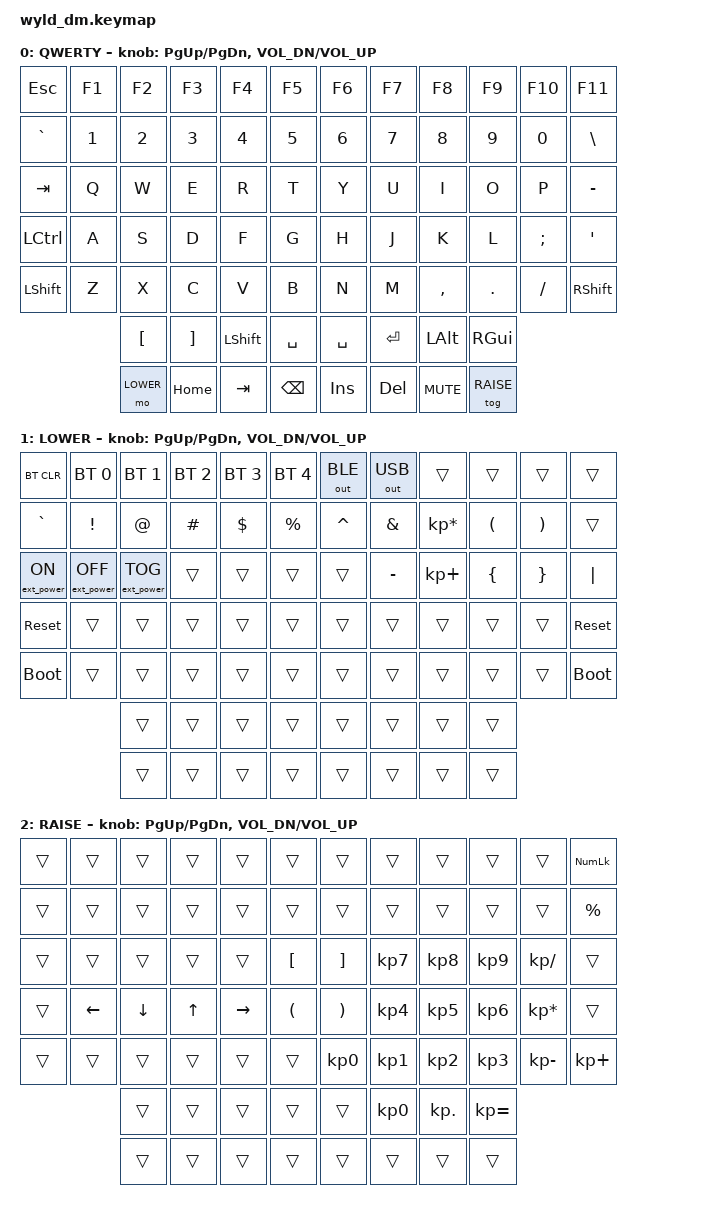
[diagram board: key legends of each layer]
/*
 * Copyright (c) 2020 The ZMK Contributors
 *
 * SPDX-License-Identifier: MIT
 */

#include <behaviors.dtsi>
#include <dt-bindings/zmk/bt.h>
#include <dt-bindings/zmk/ext_power.h>
#include <dt-bindings/zmk/keys.h>
#include <dt-bindings/zmk/outputs.h>

#define QWERTY 0
#define LOWER 1
#define RAISE 2

/ {
    keymap {
        compatible = "zmk,keymap";

        default_layer {
            display-name = "QWERTY";
            bindings = <
&kp ESC    &kp F1  &kp F2     &kp F3    &kp F4     &kp F5         &kp F6      &kp F7      &kp F8        &kp F9     &kp F10   &kp F11
&kp GRAVE  &kp N1  &kp N2     &kp N3    &kp N4     &kp N5         &kp N6      &kp N7      &kp N8        &kp N9     &kp N0    &kp BSLH
&kp TAB    &kp Q   &kp W      &kp E     &kp R      &kp T          &kp Y       &kp U       &kp I         &kp O      &kp P     &kp MINUS
&kp LCTRL  &kp A   &kp S      &kp D     &kp F      &kp G          &kp H       &kp J       &kp K         &kp L      &kp SEMI  &kp SQT
&kp LSHFT  &kp Z   &kp X      &kp C     &kp V      &kp B          &kp N       &kp M       &kp COMMA     &kp DOT    &kp FSLH  &kp RSHFT
                   &kp LBKT   &kp RBKT  &kp LSHFT  &kp SPACE      &kp SPACE   &kp ENTER   &kp LEFT_ALT  &kp RGUI
                   &mo LOWER  &kp HOME  &kp TAB    &kp BACKSPACE  &kp INSERT  &kp DELETE  &kp K_MUTE    &tog RAISE
            >;

            sensor-bindings = <&inc_dec_kp PG_UP PG_DN &inc_dec_kp C_VOL_DN C_VOL_UP>;
        };

        lower_layer {
            display-name = "LOWER";
            bindings = <
&bt BT_CLR        &bt BT_SEL 0       &bt BT_SEL 1       &bt BT_SEL 2  &bt BT_SEL 3  &bt BT_SEL 4  &out OUT_BLE  &out OUT_USB  &trans           &trans    &trans    &trans
&kp GRAVE         &kp EXCL           &kp AT             &kp HASH      &kp DOLLAR    &kp PRCNT     &kp CARET     &kp AMPS      &kp KP_MULTIPLY  &kp LPAR  &kp RPAR  &trans
&ext_power EP_ON  &ext_power EP_OFF  &ext_power EP_TOG  &trans        &trans        &trans        &trans        &kp MINUS     &kp KP_PLUS      &kp LBRC  &kp RBRC  &kp PIPE
&sys_reset        &trans             &trans             &trans        &trans        &trans        &trans        &trans        &trans           &trans    &trans    &sys_reset
&bootloader       &trans             &trans             &trans        &trans        &trans        &trans        &trans        &trans           &trans    &trans    &bootloader
                                     &trans             &trans        &trans        &trans        &trans        &trans        &trans           &trans
                                     &trans             &trans        &trans        &trans        &trans        &trans        &trans           &trans
            >;

            sensor-bindings = <&inc_dec_kp PG_UP PG_DN &inc_dec_kp C_VOL_DN C_VOL_UP>;
        };

        raise_layer {
            display-name = "RAISE";
            bindings = <
&trans  &trans    &trans    &trans  &trans     &trans    &trans     &trans     &trans      &trans        &trans           &kp KP_NUM
&trans  &trans    &trans    &trans  &trans     &trans    &trans     &trans     &trans      &trans        &trans           &kp PRCNT
&trans  &trans    &trans    &trans  &trans     &kp LBKT  &kp RBKT   &kp KP_N7  &kp KP_N8   &kp KP_N9     &kp KP_DIVIDE    &trans
&trans  &kp LEFT  &kp DOWN  &kp UP  &kp RIGHT  &kp LPAR  &kp RPAR   &kp KP_N4  &kp KP_N5   &kp KP_N6     &kp KP_MULTIPLY  &trans
&trans  &trans    &trans    &trans  &trans     &trans    &kp KP_N0  &kp KP_N1  &kp KP_N2   &kp KP_N3     &kp KP_MINUS     &kp KP_PLUS
                  &trans    &trans  &trans     &trans    &trans     &kp KP_N0  &kp KP_DOT  &kp KP_EQUAL
                  &trans    &trans  &trans     &trans    &trans     &trans     &trans      &trans
            >;

            sensor-bindings = <&inc_dec_kp PG_UP PG_DN &inc_dec_kp C_VOL_DN C_VOL_UP>;
        };
    };
};
